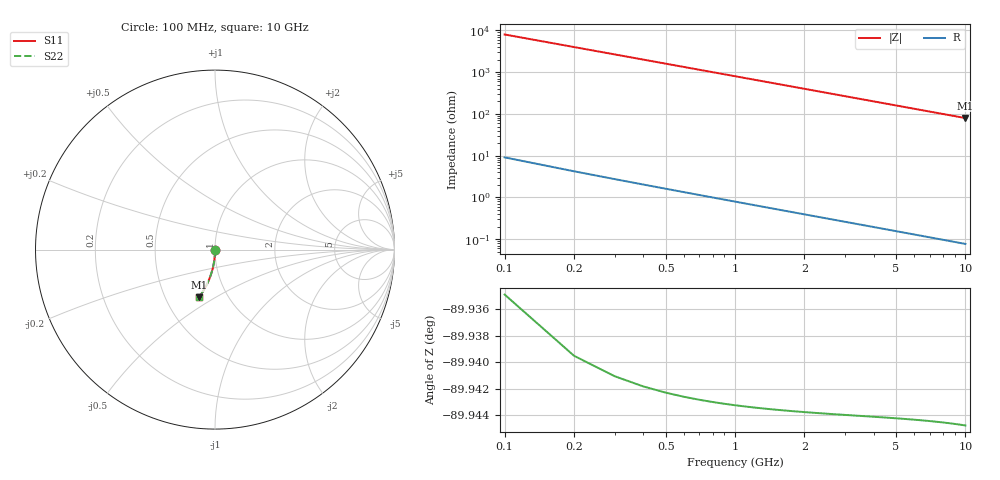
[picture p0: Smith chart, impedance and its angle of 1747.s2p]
# Hz S RI R 50.00
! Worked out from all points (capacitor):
!   100 points, 100 MHz to 10 GHz, reference 50 ohm
!   read as one part in shunt: C = 198 fF near 100 MHz
!   lowest |Z| = 79.7 ohm at 10 GHz (marker M1)
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1e8  3.83e-05 -0.00292  0.9999 -0.00332  0.9999 -0.00332  3.83e-05 -0.00292
2e8  6.63e-06 -0.00583  0.9999 -0.00664  0.9999 -0.00664  6.63e-06 -0.00583
3e8  -4.45e-05 -0.00875  0.9999 -0.00995  0.9999 -0.00995  -4.45e-05 -0.00875
4e8  -0.000115 -0.0117  0.9998 -0.0133  0.9998 -0.0133  -0.000115 -0.0117
5e8  -0.000205 -0.0146  0.9997 -0.0166  0.9997 -0.0166  -0.000205 -0.0146
6e8  -0.000314 -0.0175  0.9996 -0.0199  0.9996 -0.0199  -0.000314 -0.0175
7e8  -0.000443 -0.0204  0.9994 -0.0232  0.9994 -0.0232  -0.000443 -0.0204
8e8  -0.000591 -0.0233  0.9993 -0.0265  0.9993 -0.0265  -0.000591 -0.0233
9e8  -0.000758 -0.0262  0.9991 -0.0298  0.9991 -0.0298  -0.000758 -0.0262
1.1e9  -0.00115 -0.032  0.9987 -0.0365  0.9987 -0.0365  -0.00115 -0.032
1.4e9  -0.00188 -0.0408  0.998 -0.0464  0.998 -0.0464  -0.00188 -0.0408
1.8e9  -0.00313 -0.0524  0.9967 -0.0596  0.9967 -0.0596  -0.00313 -0.0524
2.1e9  -0.00427 -0.061  0.9956 -0.0695  0.9956 -0.0695  -0.00427 -0.061
2.5e9  -0.00605 -0.0726  0.9938 -0.0826  0.9938 -0.0826  -0.00605 -0.0726
2.9e9  -0.00814 -0.084  0.9917 -0.0957  0.9917 -0.0957  -0.00814 -0.084
3.4e9  -0.0112 -0.0982  0.9886 -0.112  0.9886 -0.112  -0.0112 -0.0982
4.2e9  -0.017 -0.1207  0.9828 -0.1377  0.9828 -0.1377  -0.017 -0.1207
5.1e9  -0.0249 -0.1455  0.9748 -0.1661  0.9748 -0.1661  -0.0249 -0.1455
5.9e9  -0.0331 -0.167  0.9665 -0.1909  0.9665 -0.1909  -0.0331 -0.167
6.7e9  -0.0424 -0.1879  0.9572 -0.2151  0.9572 -0.2151  -0.0424 -0.1879
8.4e9  -0.0653 -0.23  0.934 -0.2642  0.934 -0.2642  -0.0653 -0.23
1e10  -0.0903 -0.2664  0.9087 -0.3073  0.9087 -0.3073  -0.0903 -0.2664
